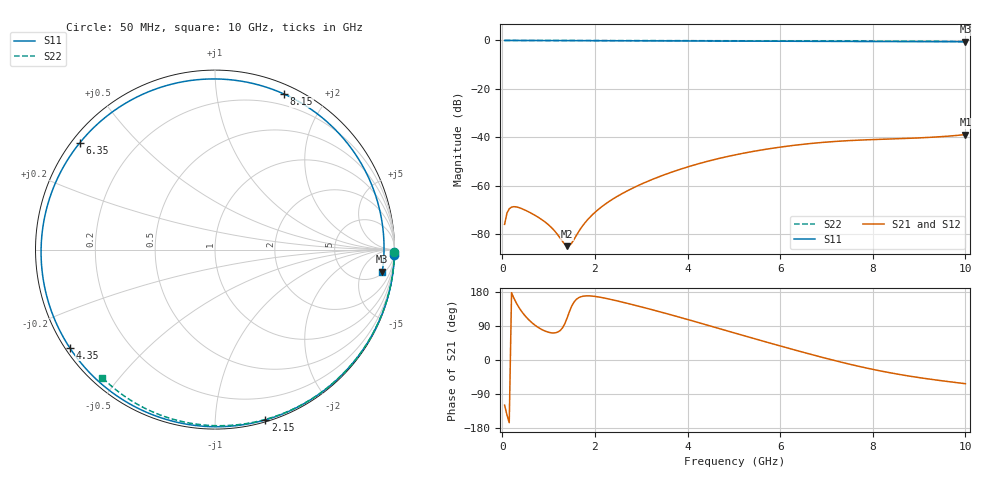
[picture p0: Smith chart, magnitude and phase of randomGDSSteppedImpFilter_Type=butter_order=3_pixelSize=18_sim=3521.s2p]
! freq	dB(S11)	phase(S11)	dB(S12)	phase(S12)
!  dB(S21)	phase(S21)	dB(S22)	phase(S22)
!S-par simulation data
#  GHz  S  DB  R 50
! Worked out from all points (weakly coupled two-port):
!   200 points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, 50 MHz to 10 GHz, reference 50 ohm
!   highest |S21| = -38.86 dB at 10 GHz (marker M1); lowest = -84.9 dB at 1.4 GHz (marker M2)
!   lowest |S11| = -0.5 dB at 10 GHz (marker M3), VSWR 32.55, Z = 292 - j623 ohm
!   |S11| at or under -10 dB: nowhere
!   |S22| runs from -0.4 to 0.0 dB; largest |S21 - S12| = 0
!   S11 on the Smith chart (normalised r, x): 50 MHz: 0, -65; 2.15 GHz: 0.01, -1.34; 4.35 GHz: 0.01, -0.31; 6.35 GHz: 0.02, +0.35; 8.15 GHz: 0.09, +1.53; 10 GHz: 6, -12
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0.05  -0.00 -1.8  -75.91 -119.2  -75.91 -119.2  -0.00 -0.8
0.1  -0.00 -3.5  -71.27 -144.6  -71.27 -144.6  -0.00 -1.5
0.15  -0.00 -5.3  -69.50 -165.4  -69.50 -165.4  -0.00 -2.3
0.3  -0.01 -10.5  -68.70 151.1  -68.70 151.1  -0.00 -4.6
0.8  -0.03 -27.9  -73.28 84.1  -73.28 84.1  -0.01 -12.1
1.2  -0.05 -41.6  -80.28 73.8  -80.28 73.8  -0.02 -18.1
1.4  -0.06 -48.4  -84.92 110.9  -84.92 110.9  -0.03 -21.0
1.6  -0.07 -55.1  -80.44 160.1  -80.44 160.1  -0.03 -24.0
1.75  -0.08 -60.2  -76.13 168.5  -76.13 168.5  -0.03 -26.2
2.15  -0.09 -73.5  -68.59 164.8  -68.59 164.8  -0.04 -32.0
2.75  -0.12 -93.3  -61.58 148.0  -61.58 148.0  -0.05 -40.7
3.4  -0.15 -114.6  -56.15 127.3  -56.15 127.3  -0.07 -49.9
4.35  -0.20 -146.0  -50.30 94.8  -50.30 94.8  -0.09 -62.9
5.05  -0.25 -170.0  -47.14 70.1  -47.14 70.1  -0.11 -72.2
5.7  -0.30 166.6  -44.89 47.4  -44.89 47.4  -0.13 -80.5
6.35  -0.36 141.8  -43.17 25.3  -43.17 25.3  -0.16 -88.7
6.7  -0.38 127.7  -42.46 13.7  -42.46 13.7  -0.18 -93.0
7.45  -0.43 96.3  -41.38 -9.7  -41.38 -9.7  -0.22 -102.0
8.15  -0.46 66.1  -40.82 -28.5  -40.82 -28.5  -0.27 -110.3
8.35  -0.47 57.6  -40.69 -33.2  -40.69 -33.2  -0.29 -112.6
9.15  -0.49 24.4  -40.09 -49.1  -40.09 -49.1  -0.36 -121.7
10  -0.53 -7.5  -38.86 -62.5  -38.86 -62.5  -0.44 -131.3
